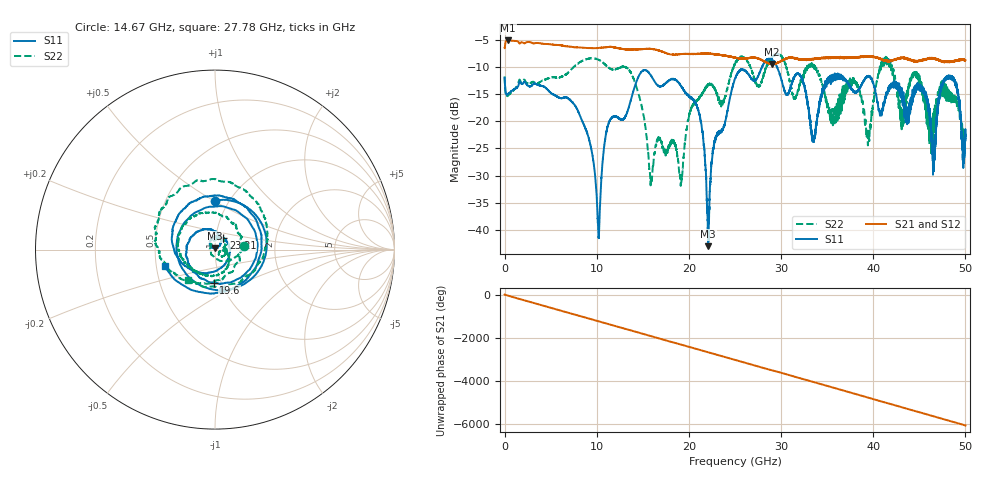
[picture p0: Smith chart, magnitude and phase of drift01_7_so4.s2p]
!Created with skrf (http://scikit-rf.org).
# Hz S RI R 50.0
!freq ReS11 ImS11 ReS21 ImS21 ReS12 ImS12 ReS22 ImS22
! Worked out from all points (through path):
!   10001 points, 300 kHz to 50 GHz, reference 50 ohm
!   highest |S21| = -5.05 dB at 380.3 MHz (marker M1); lowest = -9.4 dB at 28.98 GHz (marker M2)
!   group delay of S21, straight-line fit = 336 ps
!   lowest |S11| = -43.0 dB at 22.09 GHz (marker M3), VSWR 1.01, Z = 49.8 + j0.663 ohm
!   |S11| at or under -10 dB: start of sweep to 27.92 GHz; 29.58 GHz to end of sweep
!   |S22| runs from -31.9 to -7.5 dB; largest |S21 - S12| = 0.011
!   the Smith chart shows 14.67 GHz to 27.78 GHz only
!   S11 on the Smith chart (normalised r, x): 14.67 GHz: 0.86, +0.51; 19.6 GHz: 0.92, -0.35; 23.21 GHz: 1.09, +0.14; 27.78 GHz: 0.55, -0.11
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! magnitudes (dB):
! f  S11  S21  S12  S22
! 300 kHz  -12.0  -6.4  -6.5  -11.7
! 380.3 MHz  -14.9  -5.1  -5.1  -15.2
! 8.335 GHz  -19.6  -6.4  -6.4  -8.9
! 10.2 GHz  -41.2  -6.4  -6.4  -8.6
! 11.23 GHz  -20.7  -6.3  -6.3  -10.0
! 14.67 GHz  -11.3  -6.7  -6.7  -15.7
! 15.87 GHz  -11.5  -6.6  -6.6  -31.5
! 16.67 GHz  -13.4  -6.9  -6.9  -23.2
! 19.6 GHz  -14.7  -7.5  -7.5  -23.6
! 21.21 GHz  -19.3  -7.5  -7.5  -15.5
! 22.09 GHz  -43.0  -7.5  -7.5  -13.3
! 23.21 GHz  -22.1  -7.7  -7.7  -15.7
! 25 GHz  -12.1  -8.2  -8.3  -9.4
! 27.78 GHz  -10.6  -8.6  -8.6  -12.9
! 28.98 GHz  -8.5  -9.4  -9.4  -8.3
! 33.34 GHz  -22.6  -8.5  -8.5  -9.5
! 39.47 GHz  -11.6  -8.1  -8.0  -22.6
! 41.67 GHz  -13.8  -8.9  -8.8  -9.0
! 45.35 GHz  -14.1  -8.7  -8.7  -13.6
! 46.56 GHz  -25.1  -8.3  -8.3  -21.2
! 48.52 GHz  -11.7  -8.9  -8.9  -15.2
! 50 GHz  -22.7  -8.7  -8.7  -23.1
